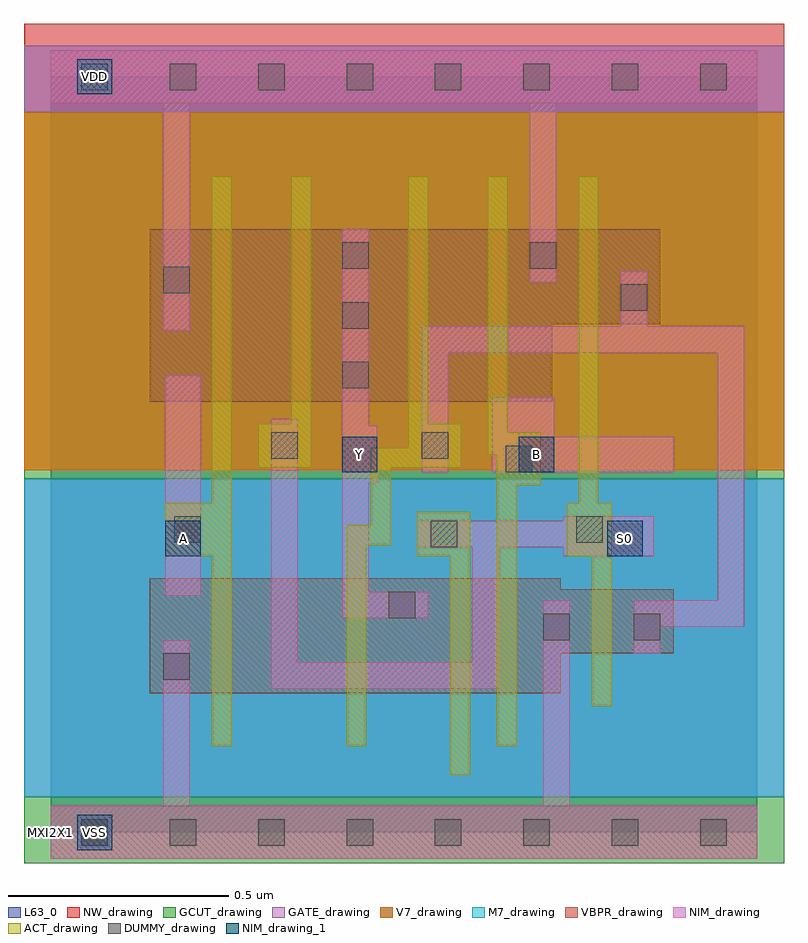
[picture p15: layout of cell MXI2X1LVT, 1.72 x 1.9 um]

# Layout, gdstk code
import gdstk
lib = gdstk.Library(unit=1e-6, precision=5e-10)
def R(c, l, rs):  # rectangles x0, y0, x1, y1
    for r in rs: c.add(gdstk.rectangle(r[:2], r[2:], *l))
def A(c, l, x, y, w, h, nx, ny, dx, dy):  # array of equal rectangles
    R(c, l, [(x+i*dx, y+j*dy, x+i*dx+w, y+j*dy+h) for i in range(nx) for j in range(ny)])
def P(c, l, *ps):  # polygons
    for p in ps: c.add(gdstk.Polygon(p, *l))
VBPR_drawing = (1, 0)
NW_drawing = (2, 0)
ACT_drawing = (3, 0)
GATE_drawing = (4, 0)
GCUT_drawing = (5, 0)
DUMMY_drawing = (6, 0)
NIM_drawing = (7, 0)
NIM_drawing_1 = (7, 1)
M7_drawing = (26, 0)
V7_drawing = (27, 0)
L63_0 = (63, 0)

mxi2x1lvt = lib.new_cell('MXI2X1LVT')
R(mxi2x1lvt, VBPR_drawing, [(0,-0.06,1.6,0.06), (0,1.65,1.6,1.77)])
P(mxi2x1lvt, VBPR_drawing, [(0.225,1.365),(1.38,1.365),(1.38,1.15),(1.135,1.15),(1.135,0.975),(0.225,0.975)],
  [(0.225,0.575),(1.155,0.575),(1.155,0.55),(1.41,0.55),(1.41,0.405),(1.155,0.405),(1.155,0.315),(0.225,0.315)])
R(mxi2x1lvt, NW_drawing, [(-0.06,0.82,1.66,1.83)])
P(mxi2x1lvt, ACT_drawing, [(0.365,1.485),(0.41,1.485),(0.41,0.195),(0.365,0.195),(0.365,0.625),(0.26,0.625),(0.26,0.745),(0.365,0.745)],
  [(0.545,1.485),(0.59,1.485),(0.59,0.825),(0.47,0.825),(0.47,0.925),(0.545,0.925)],
  [(0.81,1.485),(0.855,1.485),(0.855,0.925),(0.93,0.925),(0.93,0.825),(0.77,0.825),(0.77,0.65),(0.715,0.65),(0.715,0.195),(0.67,0.195),(0.67,0.695),(0.725,0.695),(0.725,0.87),(0.81,0.87)],
  [(0.99,1.485),(1.035,1.485),(1.035,0.905),(1.11,0.905),(1.11,0.785),(1.055,0.785),(1.055,0.195),(1.01,0.195),(1.01,0.855),(0.99,0.855)],
  [(1.195,1.485),(1.24,1.485),(1.24,0.745),(1.27,0.745),(1.27,0.285),(1.225,0.285),(1.225,0.625),(1.17,0.625),(1.17,0.745),(1.195,0.745)],
  [(0.83,0.725),(0.95,0.725),(0.95,0.13),(0.905,0.13),(0.905,0.625),(0.83,0.625)])
R(mxi2x1lvt, GATE_drawing, [(-0.06,0.08,1.66,0.8), (-0.06,1.63,1.66,1.78)])
R(mxi2x1lvt, GCUT_drawing, [(-0.06,-0.07,1.66,0.08), (-0.06,0.8,1.66,1.63)])
A(mxi2x1lvt, DUMMY_drawing, 0.07, -0.03, 0.06, 0.06, 8, 2, 0.2, 1.71)
A(mxi2x1lvt, DUMMY_drawing, 0.66, 1.005, 0.06, 0.06, 1, 3, 0, 0.135)
R(mxi2x1lvt, DUMMY_drawing, [(0.255,0.345,0.315,0.405), (1.115,0.435,1.175,0.495), (1.32,0.435,1.38,0.495), (0.765,0.485,0.825,0.545), (0.86,0.645,0.92,0.705), (0.28,0.655,0.34,0.715), (1.19,0.655,1.25,0.715), (1.03,0.815,1.09,0.875), (0.5,0.845,0.56,0.905), (0.84,0.845,0.9,0.905), (1.29,1.18,1.35,1.24), (0.255,1.22,0.315,1.28), (1.085,1.275,1.145,1.335)])
R(mxi2x1lvt, NIM_drawing, [(0.255,0.06,0.315,0.435), (1.115,0.06,1.175,0.525), (0.26,0.535,0.34,1.035), (0.255,1.135,0.315,1.65), (1.085,1.245,1.145,1.65)])
P(mxi2x1lvt, NIM_drawing, [(0.66,1.365),(0.72,1.365),(0.72,0.92),(0.74,0.92),(0.74,0.79),(0.72,0.79),(0.72,0.545),(0.855,0.545),(0.855,0.485),(0.66,0.485)],
  [(1.29,1.27),(1.35,1.27),(1.35,1.145),(1.57,1.145),(1.57,0.465),(1.38,0.465),(1.38,0.405),(1.32,0.405),(1.32,0.525),(1.51,0.525),(1.51,1.085),(0.9,1.085),(0.9,0.815),(0.84,0.815),(0.84,1.145),(1.29,1.145)],
  [(0.5,0.935),(0.56,0.935),(0.56,0.385),(0.955,0.385),(0.955,0.645),(0.83,0.645),(0.83,0.705),(1.16,0.705),(1.16,0.715),(1.365,0.715),(1.365,0.625),(1.16,0.625),(1.16,0.645),(1.015,0.645),(1.015,0.325),(0.5,0.325)],
  [(1,0.985),(1.14,0.985),(1.14,0.895),(1.41,0.895),(1.41,0.815),(1,0.815)])
R(mxi2x1lvt, NIM_drawing_1, [(0.06,-0.04,0.14,0.04), (0.26,0.625,0.34,0.705), (1.26,0.625,1.34,0.705), (0.66,0.815,0.74,0.895), (1.06,0.815,1.14,0.895), (0.06,1.67,0.14,1.75)])
R(mxi2x1lvt, M7_drawing, [(-0.06,0.08,1.66,0.8)])
R(mxi2x1lvt, V7_drawing, [(-0.06,0.82,1.66,1.63)])
R(mxi2x1lvt, L63_0, [(0,0,1.6,1.71)])
mxi2x1lvt.add(gdstk.FlexPath([(0,0),(1.6,0)], 0.12, ends="flush", simple_path=True, layer=7, datatype=0))  # NIM_drawing
mxi2x1lvt.add(gdstk.FlexPath([(0,1.71),(1.6,1.71)], 0.12, ends="flush", simple_path=True, layer=7, datatype=0))  # NIM_drawing
mxi2x1lvt.add(gdstk.Label('Y', (0.7,0.855), layer=7, texttype=1))
mxi2x1lvt.add(gdstk.Label('S0', (1.3,0.665), layer=7, texttype=1))
mxi2x1lvt.add(gdstk.Label('B', (1.1,0.855), layer=7, texttype=1))
mxi2x1lvt.add(gdstk.Label('A', (0.3,0.665), layer=7, texttype=1))
mxi2x1lvt.add(gdstk.Label('VDD', (0.1,1.71), layer=7, texttype=1))
mxi2x1lvt.add(gdstk.Label('VSS', (0.1,0), layer=7, texttype=1))
mxi2x1lvt.add(gdstk.Label('VSS', (0.1,0), layer=7, texttype=1))
mxi2x1lvt.add(gdstk.Label('VDD', (0.1,1.71), layer=7, texttype=1))
mxi2x1lvt.add(gdstk.Label('A', (0.3,0.665), layer=7, texttype=1))
mxi2x1lvt.add(gdstk.Label('B', (1.1,0.855), layer=7, texttype=1))
mxi2x1lvt.add(gdstk.Label('S0', (1.3,0.665), layer=7, texttype=1))
mxi2x1lvt.add(gdstk.Label('Y', (0.7,0.855), layer=7, texttype=1))
mxi2x1lvt.add(gdstk.Label('MXI2X1', (0,0), layer=63, texttype=0))

lib.write_gds('MXI2X1LVT.gds')
